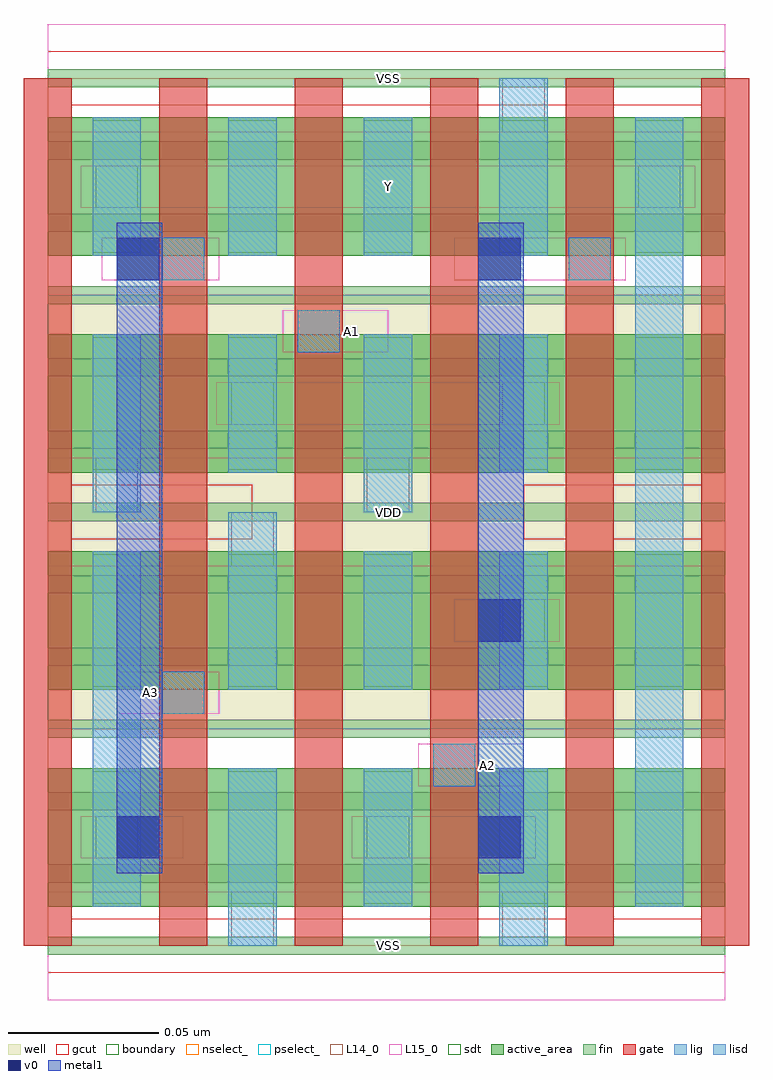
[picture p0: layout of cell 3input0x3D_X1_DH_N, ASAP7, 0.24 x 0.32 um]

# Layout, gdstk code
import gdstk
lib = gdstk.Library(unit=1e-6, precision=1e-09)
def R(c, l, rs):  # rectangles x0, y0, x1, y1
    for r in rs: c.add(gdstk.rectangle(r[:2], r[2:], *l))
def A(c, l, x, y, w, h, nx, ny, dx, dy):  # array of equal rectangles
    R(c, l, [(x+i*dx, y+j*dy, x+i*dx+w, y+j*dy+h) for i in range(nx) for j in range(ny)])
def P(c, l, *ps):  # polygons
    for p in ps: c.add(gdstk.Polygon(p, *l))
well = (1, 0)
fin = (2, 0)
gate = (7, 0)
gcut = (10, 0)
active_area = (11, 0)
nselect_ = (12, 0)
pselect_ = (13, 0)
L14_0 = (14, 0)
L15_0 = (15, 0)
lig = (16, 0)
lisd = (17, 0)
v0 = (18, 0)
metal1 = (19, 0)
sdt = (88, 0)
boundary = (100, 0)

c_3input0x3d_x1_dh_n = lib.new_cell('3input0x3D_X1_DH_N')
R(c_3input0x3d_x1_dh_n, well, [(0,0.072,0.225,0.144), (0,0.144,0.225,0.216)])
A(c_3input0x3d_x1_dh_n, fin, 0, -0.003, 0.225, 0.006, 1, 13, 0, 0.024)
A(c_3input0x3d_x1_dh_n, gate, -0.008, 0, 0.016, 0.288, 6, 1, 0.045, 0)
P(c_3input0x3d_x1_dh_n, gcut, [(0,-0.009),(0,0),(-0.008,0),(-0.008,0.279),(0.008,0.279),(0.008,0.153),(0.068,0.153),(0.068,0.135),(0.008,0.135),(0.008,0.009),(0.172,0.009),(0.172,0.135),(0.188,0.135),(0.188,0.009),(0.217,0.009),(0.217,0.135),(0.158,0.135),(0.158,0.153),(0.217,0.153),(0.217,0.279),(-0.008,0.279),(-0.008,0.288),(0,0.288),(0,0.297),(0.225,0.297),(0.225,0.288),(0.233,0.288),(0.233,0),(0.225,0),(0.225,-0.009)])
A(c_3input0x3d_x1_dh_n, active_area, 0, 0.013, 0.225, 0.046, 1, 4, 0, 0.072)
R(c_3input0x3d_x1_dh_n, nselect_, [(0,0,0.225,0.072), (0,0.216,0.225,0.288)])
R(c_3input0x3d_x1_dh_n, pselect_, [(0,0.072,0.225,0.144), (0,0.144,0.225,0.216)])
R(c_3input0x3d_x1_dh_n, L14_0, [(0.061,0,0.075,0.018), (0.151,0,0.165,0.018), (0.016,0.029,0.03,0.043), (0.106,0.029,0.12,0.043), (0.128,0.053,0.142,0.067), (0.038,0.077,0.052,0.091), (0.151,0.101,0.165,0.115), (0.061,0.126,0.075,0.144), (0.016,0.144,0.03,0.162), (0.106,0.144,0.12,0.162), (0.061,0.173,0.075,0.187), (0.151,0.173,0.165,0.187), (0.083,0.197,0.097,0.211), (0.038,0.221,0.052,0.235), (0.173,0.221,0.187,0.235), (0.016,0.245,0.03,0.259), (0.196,0.245,0.21,0.259), (0.151,0.27,0.165,0.288)])
A(c_3input0x3d_x1_dh_n, L15_0, 0, -0.018, 0.225, 0.036, 1, 3, 0, 0.144)
R(c_3input0x3d_x1_dh_n, L15_0, [(0.011,0.029,0.045,0.043), (0.101,0.029,0.162,0.043), (0.123,0.053,0.158,0.067), (0.023,0.077,0.057,0.091), (0.135,0.101,0.17,0.115), (0.056,0.173,0.17,0.187), (0.078,0.197,0.113,0.211), (0.018,0.221,0.057,0.235), (0.135,0.221,0.192,0.235), (0.011,0.245,0.215,0.259)])
R(c_3input0x3d_x1_dh_n, lig, [(0.128,0.053,0.142,0.067), (0.038,0.077,0.052,0.091), (0.083,0.197,0.097,0.211), (0.038,0.221,0.052,0.235), (0.173,0.221,0.187,0.235)])
A(c_3input0x3d_x1_dh_n, lisd, 0.015, 0.229, 0.016, 0.046, 3, 1, 0.045, 0)
R(c_3input0x3d_x1_dh_n, lisd, [(0.06,0,0.076,0.059), (0.15,0,0.166,0.059), (0.015,0.013,0.031,0.131), (0.105,0.013,0.121,0.059), (0.195,0.013,0.211,0.275), (0.06,0.085,0.076,0.144), (0.105,0.085,0.121,0.131), (0.15,0.085,0.166,0.131), (0.015,0.144,0.031,0.203), (0.105,0.144,0.121,0.203), (0.06,0.157,0.076,0.203), (0.15,0.157,0.166,0.203), (0.15,0.229,0.166,0.288)])
R(c_3input0x3d_x1_dh_n, v0, [(0.023,0.029,0.037,0.043), (0.143,0.029,0.157,0.043), (0.143,0.101,0.157,0.115), (0.023,0.221,0.037,0.235), (0.143,0.221,0.157,0.235)])
R(c_3input0x3d_x1_dh_n, metal1, [(0.023,0.024,0.038,0.24), (0.143,0.024,0.158,0.24)])
A(c_3input0x3d_x1_dh_n, sdt, 0.015, 0.014, 0.016, 0.044, 5, 4, 0.045, 0.072)
R(c_3input0x3d_x1_dh_n, boundary, [(0,0,0.225,0.288)])
c_3input0x3d_x1_dh_n.add(gdstk.Label('Y', (0.113,0.252), layer=15, texttype=251))
c_3input0x3d_x1_dh_n.add(gdstk.Label('VSS', (0.113,0), layer=15, texttype=251))
c_3input0x3d_x1_dh_n.add(gdstk.Label('VDD', (0.113,0.144), layer=15, texttype=251))
c_3input0x3d_x1_dh_n.add(gdstk.Label('VDD', (0.113,0.144), layer=15, texttype=251))
c_3input0x3d_x1_dh_n.add(gdstk.Label('VSS', (0.113,0.288), layer=15, texttype=251))
c_3input0x3d_x1_dh_n.add(gdstk.Label('A1', (0.101,0.204), layer=15, texttype=251))
c_3input0x3d_x1_dh_n.add(gdstk.Label('VSS', (0.113,0), layer=15, texttype=251))
c_3input0x3d_x1_dh_n.add(gdstk.Label('VDD', (0.113,0.144), layer=15, texttype=251))
c_3input0x3d_x1_dh_n.add(gdstk.Label('VDD', (0.113,0.144), layer=15, texttype=251))
c_3input0x3d_x1_dh_n.add(gdstk.Label('VSS', (0.113,0.288), layer=15, texttype=251))
c_3input0x3d_x1_dh_n.add(gdstk.Label('A2', (0.146,0.06), layer=15, texttype=251))
c_3input0x3d_x1_dh_n.add(gdstk.Label('VSS', (0.113,0), layer=15, texttype=251))
c_3input0x3d_x1_dh_n.add(gdstk.Label('VDD', (0.113,0.144), layer=15, texttype=251))
c_3input0x3d_x1_dh_n.add(gdstk.Label('VDD', (0.113,0.144), layer=15, texttype=251))
c_3input0x3d_x1_dh_n.add(gdstk.Label('VSS', (0.113,0.288), layer=15, texttype=251))
c_3input0x3d_x1_dh_n.add(gdstk.Label('A3', (0.034,0.084), layer=15, texttype=251))
c_3input0x3d_x1_dh_n.add(gdstk.Label('VSS', (0.113,0), layer=15, texttype=251))
c_3input0x3d_x1_dh_n.add(gdstk.Label('VDD', (0.113,0.144), layer=15, texttype=251))
c_3input0x3d_x1_dh_n.add(gdstk.Label('VDD', (0.113,0.144), layer=15, texttype=251))
c_3input0x3d_x1_dh_n.add(gdstk.Label('VSS', (0.113,0.288), layer=15, texttype=251))
c_3input0x3d_x1_dh_n.add(gdstk.Label('VSS', (0.113,0), layer=3, texttype=251))
c_3input0x3d_x1_dh_n.add(gdstk.Label('VSS', (0.113,0.288), layer=3, texttype=251))
c_3input0x3d_x1_dh_n.add(gdstk.Label('VSS', (0.113,0), layer=3, texttype=251))
c_3input0x3d_x1_dh_n.add(gdstk.Label('VSS', (0.113,0.288), layer=3, texttype=251))
c_3input0x3d_x1_dh_n.add(gdstk.Label('VSS', (0.113,0), layer=3, texttype=251))
c_3input0x3d_x1_dh_n.add(gdstk.Label('VSS', (0.113,0.288), layer=3, texttype=251))
c_3input0x3d_x1_dh_n.add(gdstk.Label('VSS', (0.113,0), layer=3, texttype=251))
c_3input0x3d_x1_dh_n.add(gdstk.Label('VSS', (0.113,0.288), layer=3, texttype=251))
c_3input0x3d_x1_dh_n.add(gdstk.Label('VDD', (0.113,0.144), layer=1, texttype=251))
c_3input0x3d_x1_dh_n.add(gdstk.Label('VDD', (0.113,0.144), layer=1, texttype=251))
c_3input0x3d_x1_dh_n.add(gdstk.Label('VDD', (0.113,0.144), layer=1, texttype=251))
c_3input0x3d_x1_dh_n.add(gdstk.Label('VDD', (0.113,0.144), layer=1, texttype=251))
c_3input0x3d_x1_dh_n.add(gdstk.Label('VDD', (0.113,0.144), layer=1, texttype=251))
c_3input0x3d_x1_dh_n.add(gdstk.Label('VDD', (0.113,0.144), layer=1, texttype=251))
c_3input0x3d_x1_dh_n.add(gdstk.Label('VDD', (0.113,0.144), layer=1, texttype=251))
c_3input0x3d_x1_dh_n.add(gdstk.Label('VDD', (0.113,0.144), layer=1, texttype=251))

lib.write_gds('3input0x3D_X1_DH_N.gds')
